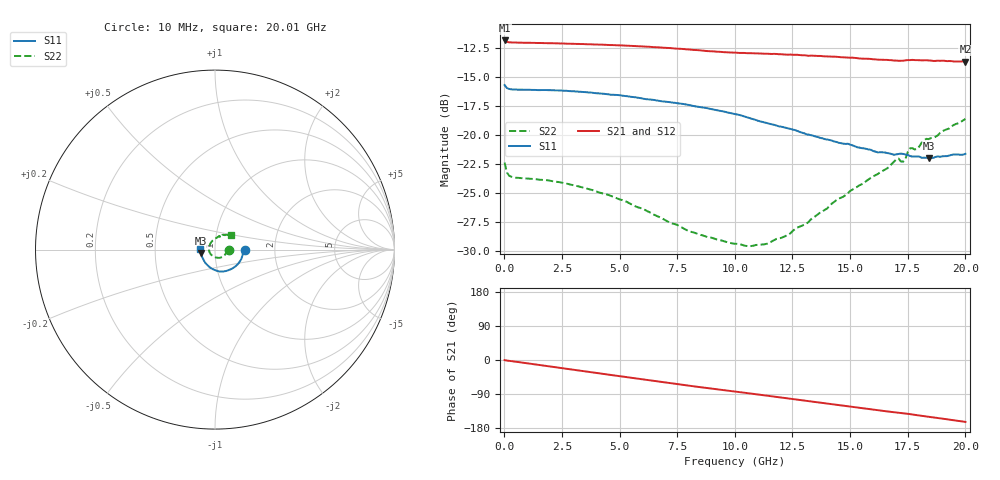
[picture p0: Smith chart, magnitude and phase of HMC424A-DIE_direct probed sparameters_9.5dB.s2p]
!s2p File: Measurements: S11, S21, S12, S22
# GHz S dB R 50.0
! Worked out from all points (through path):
!   201 points, 10 MHz to 20.01 GHz, reference 50 ohm
!   highest |S21| = -11.81 dB at 10 MHz (marker M1); lowest = -13.7 dB at 20.01 GHz (marker M2)
!   group delay of S21, straight-line fit = 22.4 ps
!   lowest |S11| = -22.0 dB at 18.41 GHz (marker M3), VSWR 1.17, Z = 42.9 - j1.87 ohm
!   |S11| at or under -10 dB: start of sweep to end of sweep
!   |S22| runs from -29.6 to -18.6 dB; largest |S21 - S12| = 0.0016
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0.01  -15.67 -0.8  -11.81 -0.4  -11.81 -0.3  -22.37 -1.9
0.11  -15.93 -1.9  -11.93 -1.5  -11.93 -1.5  -23.24 -5.2
0.31  -16.04 -2.9  -11.98 -3.0  -11.98 -3.0  -23.61 -5.7
1.91  -16.11 -14.2  -12.05 -16.5  -12.04 -16.5  -23.92 -22.9
3.41  -16.27 -25.4  -12.12 -29.2  -12.12 -29.2  -24.54 -40.7
5.21  -16.61 -39.4  -12.25 -44.4  -12.26 -44.4  -25.69 -63.3
6.71  -17.03 -51.0  -12.41 -57.0  -12.41 -57.0  -27.07 -83.3
8.01  -17.39 -61.4  -12.59 -67.8  -12.60 -67.8  -28.30 -103.2
10.01  -18.18 -79.6  -12.86 -83.3  -12.87 -83.2  -29.40 -147.8
10.61  -18.51 -85.1  -12.91 -87.9  -12.91 -87.8  -29.61 -165.1
11.41  -18.97 -92.5  -12.96 -94.2  -12.97 -94.2  -29.39 171.7
12.41  -19.46 -101.7  -13.03 -102.3  -13.05 -102.1  -28.51 146.0
13.41  -20.06 -111.2  -13.13 -110.2  -13.15 -110.2  -27.15 123.0
14.41  -20.59 -121.6  -13.22 -118.2  -13.23 -118.2  -25.62 105.4
16.71  -21.58 -145.9  -13.51 -136.3  -13.49 -136.2  -22.74 76.6
17.01  -21.67 -148.4  -13.55 -138.5  -13.51 -138.5  -22.10 72.4
17.31  -21.63 -152.1  -13.56 -140.6  -13.55 -140.8  -22.30 69.6
17.61  -21.81 -155.3  -13.51 -142.8  -13.54 -143.2  -21.14 67.5
17.91  -21.86 -157.8  -13.51 -145.6  -13.54 -145.5  -21.21 63.5
18.21  -21.95 -161.9  -13.53 -148.1  -13.56 -147.9  -20.48 60.5
18.41  -22.00 -164.2  -13.54 -149.7  -13.57 -149.6  -20.35 57.1
20.01  -21.62 178.2  -13.65 -163.3  -13.63 -163.2  -18.60 42.5
